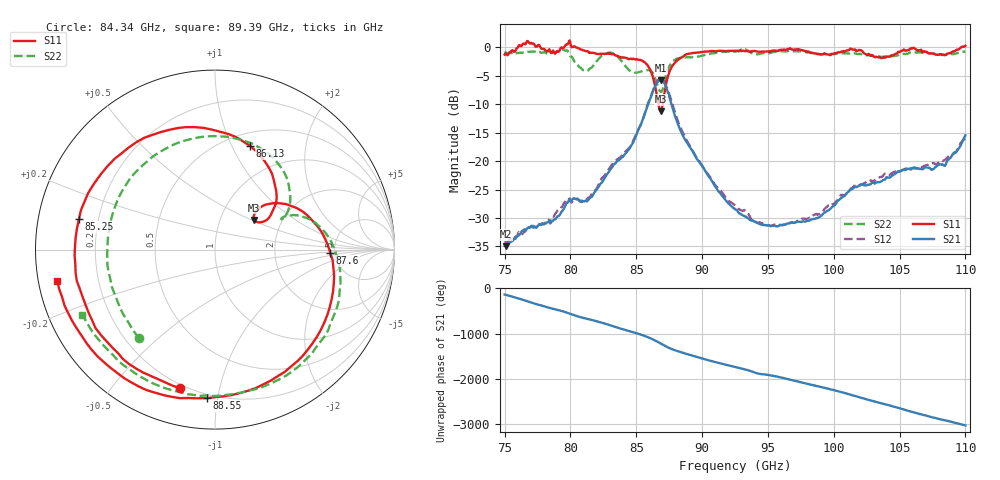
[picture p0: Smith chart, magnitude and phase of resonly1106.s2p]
#  HZ  S  RI  R  50.00
! Rohde & Schwarz Vector Network Analyzer
! Rohde-Schwarz,ZNA50-4Port,1332450054101417,2.92
! Created: UTC 11/6/2024, 12:15:52 PM
! freq[Hz]  re:S11  im:S11  re:S21  im:S21  re:S12  im:S12  re:S22  im:S22
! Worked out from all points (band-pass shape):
!   1001 points, 75 GHz to 110 GHz, reference 50 ohm
!   highest |S21| = -5.71 dB at 86.86 GHz (marker M1); lowest = -35.0 dB at 75.07 GHz (marker M2)
!   |S21| within 3 dB of the highest: 86.11 GHz to 87.51 GHz (1.405 GHz wide, 1.62 % of centre)
!   lowest |S11| = -11.3 dB at 86.86 GHz (marker M3), VSWR 1.75, Z = 72.4 + j25.9 ohm
!   |S11| at or under -10 dB: 86.68704 GHz to 87.00545 GHz (318.4 MHz wide, 0.367 % of centre)
!   |S22| runs from -7.8 to -0.2 dB; largest |S21 - S12| = 0.14
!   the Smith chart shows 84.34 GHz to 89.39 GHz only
!   S11 on the Smith chart (normalised r, x): 84.34 GHz: 0.18, -0.76; 85.25 GHz: 0.13, +0.11; 86.13 GHz: 0.64, +1.18; 87.6 GHz: 4.58, -0.28; 88.55 GHz: 0.18, -0.93; 89.39 GHz: 0.06, -0.10
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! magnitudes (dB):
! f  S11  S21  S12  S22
! 75 GHz  -1.3  -34.9  -34.3  -0.8
! 75.07 GHz  -1.1  -35.0  -34.3  -0.9
! 76.82 GHz  1.0  -31.6  -31.9  -0.8
! 79.44 GHz  -0.1  -28.6  -27.7  -0.4
! 80.84 GHz  -0.4  -26.9  -27.2  -3.8
! 83.02 GHz  -1.1  -21.5  -21.1  -0.9
! 84.34 GHz  -2.0  -18.2  -17.9  -3.7
! 85.25 GHz  -2.2  -13.9  -14.0  -4.3
! 86.13 GHz  -4.3  -8.6  -8.4  -4.2
! 86.69 GHz  -10.0  -5.9  -5.6  -7.2
! 86.86 GHz  -11.3  -5.7  -5.5  -7.8
! 87.6 GHz  -3.8  -9.4  -8.9  -2.9
! 88.55 GHz  -1.6  -15.5  -15.0  -1.8
! 89.39 GHz  -1.0  -18.7  -18.6  -1.7
! 92.5 GHz  -0.6  -28.4  -27.8  -0.7
! 95.09 GHz  -0.7  -31.3  -31.3  -1.0
! 98.34 GHz  -0.9  -30.2  -29.7  -1.0
! 101.5 GHz  -0.4  -24.8  -24.5  -1.0
! 104.2 GHz  -1.6  -22.9  -22.5  -1.6
! 106 GHz  -0.1  -21.2  -21.3  -0.8
! 108.4 GHz  -1.3  -20.8  -19.8  -1.3
! 110 GHz  0.3  -15.5  -16.0  -0.7
